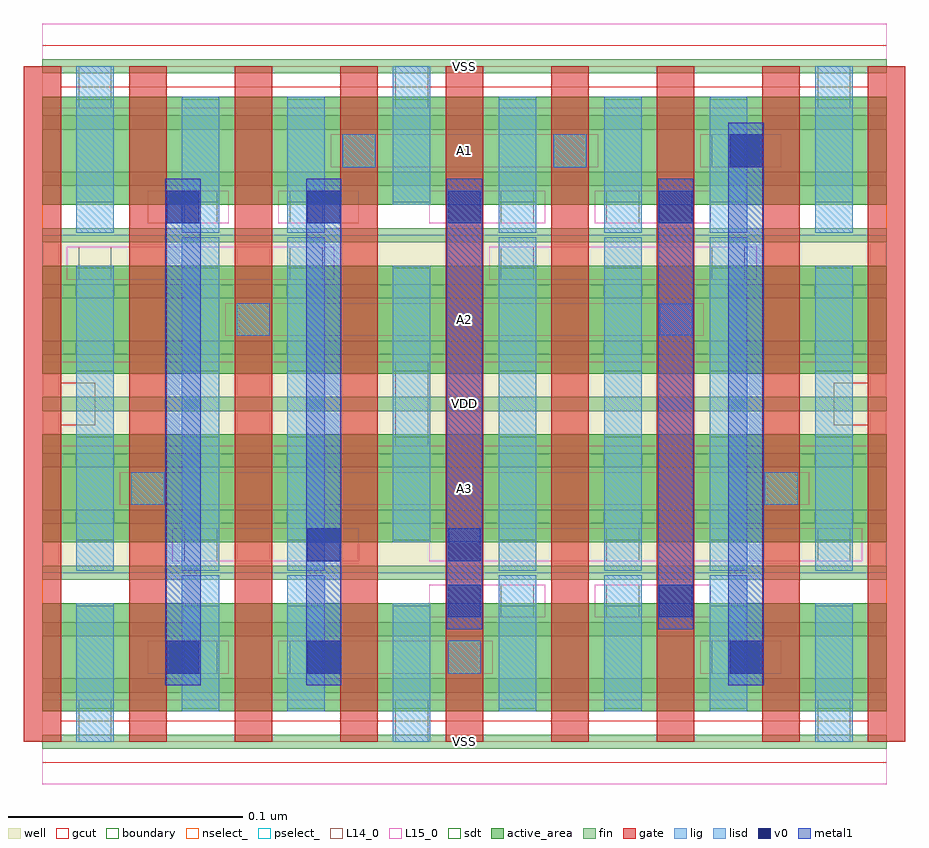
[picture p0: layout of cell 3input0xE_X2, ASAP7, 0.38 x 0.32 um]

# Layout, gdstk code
import gdstk
lib = gdstk.Library(unit=1e-6, precision=2.5e-10)
def R(c, l, rs):  # rectangles x0, y0, x1, y1
    for r in rs: c.add(gdstk.rectangle(r[:2], r[2:], *l))
def A(c, l, x, y, w, h, nx, ny, dx, dy):  # array of equal rectangles
    R(c, l, [(x+i*dx, y+j*dy, x+i*dx+w, y+j*dy+h) for i in range(nx) for j in range(ny)])
def P(c, l, *ps):  # polygons
    for p in ps: c.add(gdstk.Polygon(p, *l))
well = (1, 0)
fin = (2, 0)
gate = (7, 0)
gcut = (10, 0)
active_area = (11, 0)
nselect_ = (12, 0)
pselect_ = (13, 0)
L14_0 = (14, 0)
L15_0 = (15, 0)
lig = (16, 0)
lisd = (17, 0)
v0 = (18, 0)
metal1 = (19, 0)
sdt = (88, 0)
boundary = (100, 0)

c_3input0xe_x2 = lib.new_cell('3input0xE_X2')
R(c_3input0xe_x2, well, [(0,0.072,0.36,0.144), (0,0.144,0.36,0.216)])
A(c_3input0xe_x2, fin, 0, -0.003, 0.36, 0.006, 1, 13, 0, 0.024)
A(c_3input0xe_x2, gate, -0.008, 0, 0.016, 0.288, 9, 1, 0.045, 0)
P(c_3input0xe_x2, gcut, [(0,-0.009),(0,0),(-0.008,0),(-0.008,0.279),(0.008,0.279),(0.008,0.153),(0.0225,0.153),(0.0225,0.135),(0.008,0.135),(0.008,0.009),(0.352,0.009),(0.352,0.135),(0.3375,0.135),(0.3375,0.153),(0.352,0.153),(0.352,0.279),(-0.008,0.279),(-0.008,0.288),(0,0.288),(0,0.297),(0.36,0.297),(0.36,0.288),(0.368,0.288),(0.368,0),(0.36,0),(0.36,-0.009)])
A(c_3input0xe_x2, active_area, 0, 0.013, 0.36, 0.046, 1, 4, 0, 0.072)
R(c_3input0xe_x2, nselect_, [(0,0,0.36,0.072), (0,0.216,0.36,0.288)])
R(c_3input0xe_x2, pselect_, [(0,0.072,0.36,0.144), (0,0.144,0.36,0.216)])
A(c_3input0xe_x2, L14_0, 0.0155, 0.197, 0.014, 0.014, 4, 1, 0.09, 0)
R(c_3input0xe_x2, L14_0, [(0.0155,0,0.0295,0.018), (0.1505,0,0.1645,0.018), (0.3305,0,0.3445,0.018), (0.0605,0.029,0.0745,0.043), (0.1055,0.029,0.1195,0.043), (0.173,0.029,0.187,0.043), (0.2855,0.029,0.2995,0.043), (0.1955,0.053,0.2095,0.067), (0.2405,0.053,0.2545,0.067), (0.0605,0.077,0.0745,0.091), (0.2405,0.077,0.2545,0.091), (0.3305,0.077,0.3445,0.091), (0.038,0.101,0.052,0.115), (0.308,0.101,0.322,0.115), (0.1505,0.126,0.1645,0.144), (0.1505,0.144,0.1645,0.162), (0.083,0.173,0.097,0.187), (0.263,0.173,0.277,0.187), (0.0605,0.221,0.0745,0.235), (0.1055,0.221,0.1195,0.235), (0.1955,0.221,0.2095,0.235), (0.2405,0.221,0.2545,0.235), (0.128,0.245,0.142,0.259), (0.218,0.245,0.232,0.259), (0.2855,0.245,0.2995,0.259), (0.0155,0.27,0.0295,0.288), (0.1505,0.27,0.1645,0.288), (0.3305,0.27,0.3445,0.288)])
A(c_3input0xe_x2, L15_0, 0, -0.018, 0.36, 0.036, 1, 3, 0, 0.144)
R(c_3input0xe_x2, L15_0, [(0.045,0.029,0.0795,0.043), (0.1005,0.029,0.192,0.043), (0.2805,0.029,0.315,0.043), (0.165,0.053,0.2145,0.067), (0.2355,0.053,0.285,0.067), (0.0555,0.077,0.135,0.091), (0.165,0.077,0.3495,0.091), (0.033,0.101,0.327,0.115), (0.078,0.173,0.282,0.187), (0.0105,0.197,0.1245,0.211), (0.1905,0.197,0.3045,0.211), (0.045,0.221,0.0795,0.235), (0.1005,0.221,0.135,0.235), (0.165,0.221,0.2145,0.235), (0.2355,0.221,0.285,0.235), (0.123,0.245,0.237,0.259), (0.2805,0.245,0.315,0.259)])
R(c_3input0xe_x2, lig, [(0.173,0.029,0.187,0.043), (0.038,0.101,0.052,0.115), (0.308,0.101,0.322,0.115), (0.083,0.173,0.097,0.187), (0.263,0.173,0.277,0.187), (0.128,0.245,0.142,0.259), (0.218,0.245,0.232,0.259)])
A(c_3input0xe_x2, lisd, 0.1945, 0.013, 0.016, 0.058, 3, 2, 0.045, 0.204)
A(c_3input0xe_x2, lisd, 0.1945, 0.073, 0.016, 0.142, 3, 1, 0.045, 0)
R(c_3input0xe_x2, lisd, [(0.0145,0,0.0305,0.059), (0.1495,0,0.1655,0.059), (0.3295,0,0.3455,0.059), (0.0595,0.013,0.0755,0.071), (0.1045,0.013,0.1205,0.071), (0.0145,0.073,0.0305,0.203), (0.0595,0.073,0.0755,0.215), (0.1045,0.073,0.1205,0.215), (0.3295,0.073,0.3455,0.203), (0.1495,0.085,0.1655,0.203), (0.0145,0.217,0.0305,0.288), (0.0595,0.217,0.0755,0.275), (0.1045,0.217,0.1205,0.275), (0.3295,0.217,0.3455,0.288), (0.1495,0.229,0.1655,0.288)])
A(c_3input0xe_x2, v0, 0.053, 0.221, 0.014, 0.014, 3, 1, 0.06, 0)
R(c_3input0xe_x2, v0, [(0.053,0.029,0.067,0.043), (0.113,0.029,0.127,0.043), (0.293,0.029,0.307,0.043), (0.173,0.053,0.187,0.067), (0.263,0.053,0.277,0.067), (0.113,0.077,0.127,0.091), (0.173,0.077,0.187,0.091), (0.263,0.221,0.277,0.235), (0.293,0.245,0.307,0.259)])
R(c_3input0xe_x2, metal1, [(0.0525,0.024,0.0675,0.24), (0.1125,0.024,0.1275,0.24), (0.2925,0.024,0.3075,0.264), (0.1725,0.048,0.1875,0.24), (0.2625,0.048,0.2775,0.24)])
A(c_3input0xe_x2, sdt, 0.0145, 0.014, 0.016, 0.044, 8, 4, 0.045, 0.072)
R(c_3input0xe_x2, boundary, [(0,0,0.36,0.288)])
c_3input0xe_x2.add(gdstk.Label('VSS', (0.18,0), layer=15, texttype=251))
c_3input0xe_x2.add(gdstk.Label('VDD', (0.18,0.144), layer=15, texttype=251))
c_3input0xe_x2.add(gdstk.Label('VDD', (0.18,0.144), layer=15, texttype=251))
c_3input0xe_x2.add(gdstk.Label('VSS', (0.18,0.288), layer=15, texttype=251))
c_3input0xe_x2.add(gdstk.Label('A1', (0.18,0.252), layer=15, texttype=251))
c_3input0xe_x2.add(gdstk.Label('VSS', (0.18,0), layer=15, texttype=251))
c_3input0xe_x2.add(gdstk.Label('VDD', (0.18,0.144), layer=15, texttype=251))
c_3input0xe_x2.add(gdstk.Label('VDD', (0.18,0.144), layer=15, texttype=251))
c_3input0xe_x2.add(gdstk.Label('VSS', (0.18,0.288), layer=15, texttype=251))
c_3input0xe_x2.add(gdstk.Label('A3', (0.18,0.108), layer=15, texttype=251))
c_3input0xe_x2.add(gdstk.Label('VSS', (0.18,0), layer=15, texttype=251))
c_3input0xe_x2.add(gdstk.Label('VDD', (0.18,0.144), layer=15, texttype=251))
c_3input0xe_x2.add(gdstk.Label('VDD', (0.18,0.144), layer=15, texttype=251))
c_3input0xe_x2.add(gdstk.Label('VSS', (0.18,0.288), layer=15, texttype=251))
c_3input0xe_x2.add(gdstk.Label('A2', (0.18,0.18), layer=15, texttype=251))
c_3input0xe_x2.add(gdstk.Label('VSS', (0.18,0), layer=15, texttype=251))
c_3input0xe_x2.add(gdstk.Label('VDD', (0.18,0.144), layer=15, texttype=251))
c_3input0xe_x2.add(gdstk.Label('VDD', (0.18,0.144), layer=15, texttype=251))
c_3input0xe_x2.add(gdstk.Label('VSS', (0.18,0.288), layer=15, texttype=251))
c_3input0xe_x2.add(gdstk.Label('Y', (0.18,0.144), layer=19, texttype=251))
c_3input0xe_x2.add(gdstk.Label('VSS', (0.18,0), layer=3, texttype=251))
c_3input0xe_x2.add(gdstk.Label('VSS', (0.18,0.288), layer=3, texttype=251))
c_3input0xe_x2.add(gdstk.Label('VSS', (0.18,0), layer=3, texttype=251))
c_3input0xe_x2.add(gdstk.Label('VSS', (0.18,0.288), layer=3, texttype=251))
c_3input0xe_x2.add(gdstk.Label('VSS', (0.18,0), layer=3, texttype=251))
c_3input0xe_x2.add(gdstk.Label('VSS', (0.18,0.288), layer=3, texttype=251))
c_3input0xe_x2.add(gdstk.Label('VSS', (0.18,0), layer=3, texttype=251))
c_3input0xe_x2.add(gdstk.Label('VSS', (0.18,0.288), layer=3, texttype=251))
c_3input0xe_x2.add(gdstk.Label('VDD', (0.18,0.144), layer=1, texttype=251))
c_3input0xe_x2.add(gdstk.Label('VDD', (0.18,0.144), layer=1, texttype=251))
c_3input0xe_x2.add(gdstk.Label('VDD', (0.18,0.144), layer=1, texttype=251))
c_3input0xe_x2.add(gdstk.Label('VDD', (0.18,0.144), layer=1, texttype=251))
c_3input0xe_x2.add(gdstk.Label('VDD', (0.18,0.144), layer=1, texttype=251))
c_3input0xe_x2.add(gdstk.Label('VDD', (0.18,0.144), layer=1, texttype=251))
c_3input0xe_x2.add(gdstk.Label('VDD', (0.18,0.144), layer=1, texttype=251))
c_3input0xe_x2.add(gdstk.Label('VDD', (0.18,0.144), layer=1, texttype=251))

lib.write_gds('3input0xE_X2.gds')
